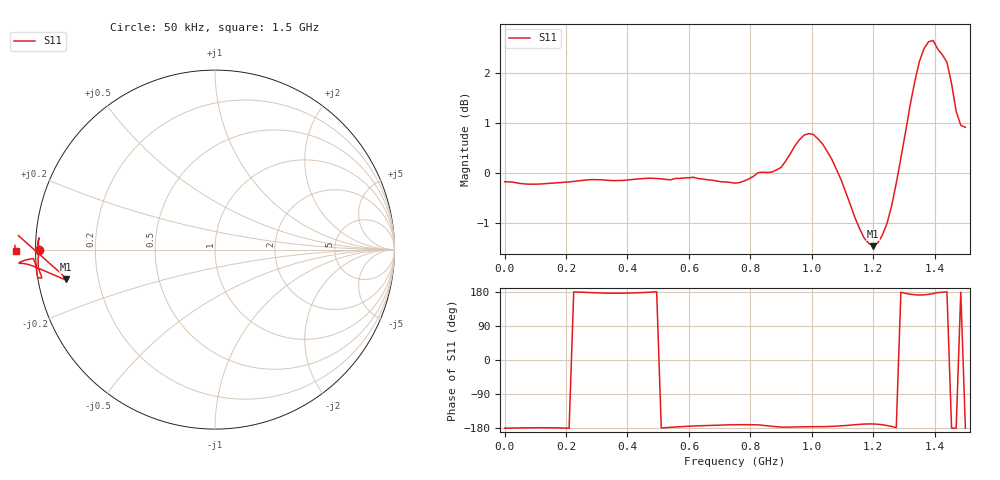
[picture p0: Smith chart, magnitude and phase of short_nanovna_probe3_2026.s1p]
! Touchstone S1P file exported from NanoVNA UTN Toolkit
! Device: NanoVNA-H
! Export date: 2026-10-13 12:16:51
! Frequency range: 0.050 - 1500.000 MHz
! Number of points: 101
! Parameter: S11 (Reflection)
# Hz S RI R 50
! f[Hz]  S11_real S11_imag
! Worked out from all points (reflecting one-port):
!   101 points, 50 kHz to 1.5 GHz, reference 50 ohm
!   lowest |S11| = -1.5 dB at 1.2 GHz (marker M1), VSWR 11.89, Z = 4.25 - j4.88 ohm
!   phase of S11 starts at -180 deg and turns +0 deg over the sweep
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50000  -0.9798 -0.00342
1.20046e8  -0.9746 -0.0217
1.950435e8  -0.9787 -0.0064
3.30039e8  -0.9814 0.0622
3.750375e8  -0.9806 0.0638
4.50035e8  -0.9864 0.0343
5.70031e8  -0.9852 -0.0659
7.50025e8  -0.9644 -0.1539
8.250225e8  -0.9884 -0.1552
9.0002e8  -1.011 -0.0502
9.450185e8  -1.063 -0.0602
9.90017e8  -1.092 -0.0738
1.035016e9  -1.066 -0.0777
1.095014e9  -0.9792 -0.1064
1.140012e9  -0.8912 -0.1437
1.170011e9  -0.8456 -0.1636
1.20001e9  -0.8286 -0.1645
1.230009e9  -0.8562 -0.1349
1.260008e9  -0.9243 -0.0747
1.320006e9  -1.161 0.1291
1.350005e9  -1.277 0.1934
1.380004e9  -1.342 0.1614
1.395004e9  -1.352 0.1127
1.410003e9  -1.329 0.0465
1.440002e9  -1.29 0.00465
1.470001e9  -1.152 -0.00397
1.485e9  -1.115 0.0237
1.5e9  -1.111 -0.00502
